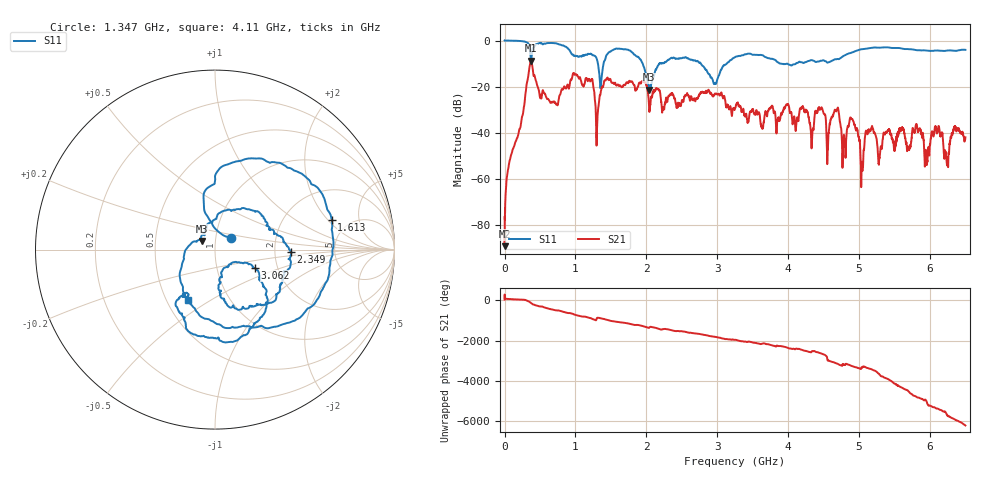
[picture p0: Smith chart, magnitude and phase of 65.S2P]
!Keysight Technologies,E5063A,MY54503115,A.05.08
!Date: Mon Dec 11 14:45:56 2023
!Data & Calibration Information:
!Freq	S11:NONE(--)	S21:NONE(--)	S12:NONE(--)	S22:NONE(--)
# Hz S dB R 50
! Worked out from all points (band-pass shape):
!   10001 points, 100 kHz to 6.5 GHz, reference 50 ohm
!   highest |S21| = -8.71 dB at 373.8 MHz (marker M1); lowest = -89.1 dB at 1.4 MHz (marker M2)
!   |S21| within 3 dB of the highest: 350.1 MHz to 393.7 MHz (43.54 MHz wide, 11.7 % of centre)
!   lowest |S11| = -21.3 dB at 2.041 GHz (marker M3), VSWR 1.19, Z = 43.2 + j4.18 ohm
!   |S11| at or under -10 dB: 1.948 GHz to 2.182 GHz (233.8 MHz wide, 11.3 % of centre); 2.767 GHz to 3.132 GHz (365.2 MHz wide, 12.4 % of centre); 3.986 GHz to 4.109 GHz (122.6 MHz wide, 3.03 % of centre) (the widest 3 of 6)
!   S12 and S22 are empty: the file has one direction only
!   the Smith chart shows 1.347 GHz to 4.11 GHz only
!   S11 on the Smith chart (normalised r, x): 1.347 GHz: 1.19, +0.16; 1.613 GHz: 3.65, +2.23; 2.349 GHz: 2.46, -0.07; 3.062 GHz: 1.52, -0.33; 4.11 GHz: 0.64, -0.40
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100000  0.05 -0.6  -85.16 41.7  -200.00 0.0  -200.00 0.0
1399980  0.00 -0.8  -89.11 -65.5  -200.00 0.0  -200.00 0.0
2.308464e8  -0.21 -76.7  -36.07 49.0  -200.00 0.0  -200.00 0.0
3.738442e8  -8.72 -123.4  -8.71 -131.5  -200.00 0.0  -200.00 0.0
5.980908e8  -1.10 159.8  -25.31 -25.6  -200.00 0.0  -200.00 0.0
7.358887e8  -1.28 91.4  -27.67 -133.1  -200.00 0.0  -200.00 0.0
8.658867e8  -2.68 10.7  -20.83 123.4  -200.00 0.0  -200.00 0.0
9.659851e8  -6.12 -74.3  -14.24 47.2  -200.00 0.0  -200.00 0.0
1.083633e9  -6.84 175.1  -18.21 -73.8  -200.00 0.0  -200.00 0.0
1.346879e9  -19.01 36.4  -23.75 -157.1  -200.00 0.0  -200.00 0.0
1.612725e9  -3.46 14.4  -19.71 6.6  -200.00 0.0  -200.00 0.0
2.041069e9  -21.35 145.9  -30.57 97.0  -200.00 0.0  -200.00 0.0
2.167167e9  -10.66 50.2  -21.24 43.9  -200.00 0.0  -200.00 0.0
2.349164e9  -7.49 -1.6  -23.25 -25.2  -200.00 0.0  -200.00 0.0
3.062203e9  -12.26 -24.8  -23.14 -76.6  -200.00 0.0  -200.00 0.0
3.25005e9  -7.17 -49.9  -29.40 -147.9  -200.00 0.0  -200.00 0.0
4.109987e9  -9.96 -118.3  -37.84 132.0  -200.00 0.0  -200.00 0.0
4.333583e9  -8.47 -130.2  -44.39 0.4  -200.00 0.0  -200.00 0.0
4.683928e9  -8.03 -134.5  -30.17 121.0  -200.00 0.0  -200.00 0.0
5.044672e9  -3.72 -161.2  -54.69 -91.9  -200.00 0.0  -200.00 0.0
5.417117e9  -2.99 161.9  -38.59 45.6  -200.00 0.0  -200.00 0.0
6.5e9  -4.02 108.5  -41.94 -78.5  -200.00 0.0  -200.00 0.0
